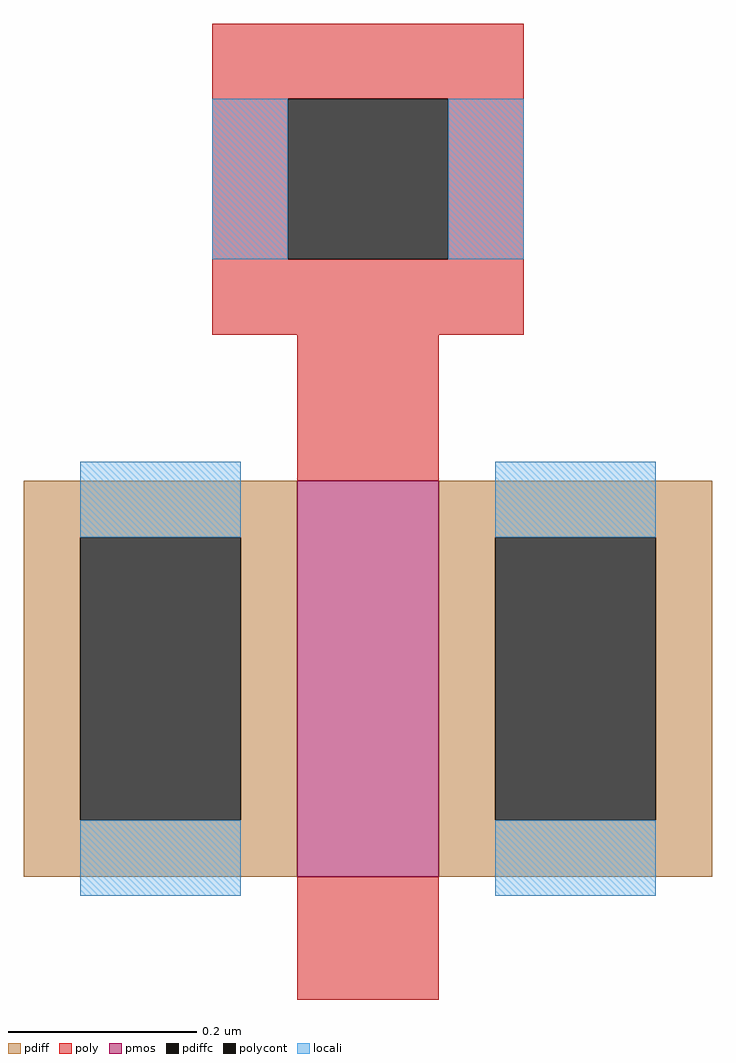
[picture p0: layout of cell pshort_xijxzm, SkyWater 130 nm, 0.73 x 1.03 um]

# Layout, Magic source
magic
tech sky130A
magscale 1 2
<< pmos >>
rect -15 -78 15 6
<< pdiff >>
rect -73 -6 -15 6
rect -73 -66 -61 -6
rect -27 -66 -15 -6
rect -73 -78 -15 -66
rect 15 -6 73 6
rect 15 -66 27 -6
rect 61 -66 73 -6
rect 15 -78 73 -66
<< pdiffc >>
rect -61 -66 -27 -6
rect 27 -66 61 -6
<< poly >>
rect -33 87 33 103
rect -33 53 -17 87
rect 17 53 33 87
rect -33 37 33 53
rect -15 6 15 37
rect -15 -104 15 -78
<< polycont >>
rect -17 53 17 87
<< locali >>
rect -33 53 -17 87
rect 17 53 33 87
rect -61 -6 -27 10
rect -61 -82 -27 -66
rect 27 -6 61 10
rect 27 -82 61 -66
<< properties >>
string gencell pshort
string parameters w 0.42 l 0.15 m 1 nf 1 diffcov 100 polycov 100 guard 0 glc 1 grc 1 gtc 1 gbc 1 tbcov 100 rlcov 100 topc 1 botc 0 poverlap 0 doverlap 0 lmin 0.15 wmin 0.42 compatible {pshort plowvt phighvt phv} full_metal 1
string library sky130
<< end >>
